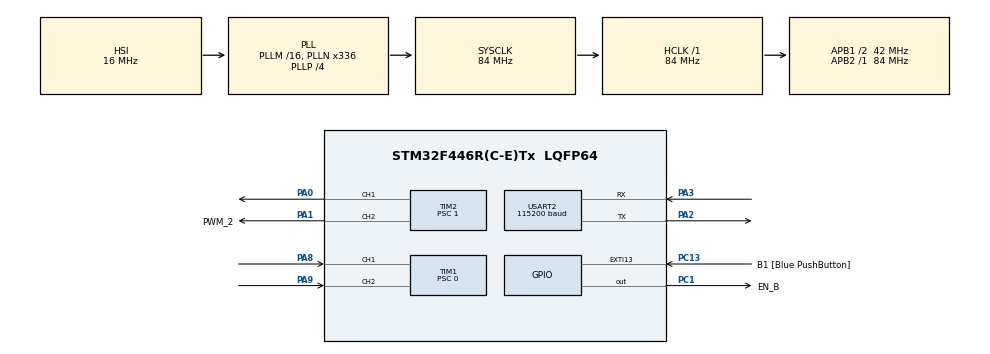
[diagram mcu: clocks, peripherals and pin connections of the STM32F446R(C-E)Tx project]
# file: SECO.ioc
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Mcu.Family=STM32F4
Mcu.Name=STM32F446R(C-E)Tx
Mcu.Package=LQFP64
NVIC.PriorityGroup=NVIC_PRIORITYGROUP_0
NVIC.TIM3_IRQn=true\:0\:0\:false\:false\:true\:true\:true
PA0-WKUP.Signal=S_TIM2_CH1_ETR
PA1.GPIO_Label=PWM_2
PA1.Signal=S_TIM2_CH2
PA13.GPIO_Label=TMS
PA13.Mode=Serial_Wire
PA13.Signal=SYS_JTMS-SWDIO
PA14.GPIO_Label=TCK
PA14.Mode=Serial_Wire
PA14.Signal=SYS_JTCK-SWCLK
PA2.Mode=Asynchronous
PA2.Signal=USART2_TX
PA3.Mode=Asynchronous
PA3.Signal=USART2_RX
PA8.Signal=S_TIM1_CH1
PA9.Signal=S_TIM1_CH2
PC1.GPIO_Label=EN_B
PC1.Signal=GPIO_Output
PC13.GPIO_Label=B1 [Blue PushButton]
PC13.GPIO_ModeDefaultEXTI=GPIO_MODE_IT_FALLING
PC13.Signal=GPXTI13
PC14-OSC32_IN.Mode=LSE-External-Oscillator
PC14-OSC32_IN.Signal=RCC_OSC32_IN
PC15-OSC32_OUT.Mode=LSE-External-Oscillator
PC15-OSC32_OUT.Signal=RCC_OSC32_OUT
PH0-OSC_IN.Mode=HSE-External-Oscillator
PH0-OSC_IN.Signal=RCC_OSC_IN
PH1-OSC_OUT.Mode=HSE-External-Oscillator
PH1-OSC_OUT.Signal=RCC_OSC_OUT
ProjectManager.HeapSize=0x200
ProjectManager.StackSize=0x400
ProjectManager.TargetToolchain=STM32CubeIDE
RCC.48MHZClocksFreq_Value=84000000
RCC.AHBFreq_Value=84000000
RCC.APB1CLKDivider=RCC_HCLK_DIV2
RCC.APB1Freq_Value=42000000
RCC.APB1TimFreq_Value=84000000
RCC.APB2Freq_Value=84000000
RCC.APB2TimFreq_Value=84000000
RCC.CortexFreq_Value=84000000
RCC.FLatency-AdvancedSettings=FLASH_LATENCY_2
RCC.HCLKFreq_Value=84000000
RCC.HSE_VALUE=8000000
RCC.HSI_VALUE=16000000
RCC.PLLN=336
RCC.PLLP=RCC_PLLP_DIV4
RCC.SYSCLKFreq_VALUE=84000000
RCC.SYSCLKSource=RCC_SYSCLKSOURCE_PLLCLK
RCC.USBFreq_Value=168000000
RCC.VCOOutputFreq_Value=336000000
SH.S_TIM1_CH1.0=TIM1_CH1,Encoder_Interface
SH.S_TIM1_CH2.0=TIM1_CH2,Encoder_Interface
SH.S_TIM2_CH1_ETR.0=TIM2_CH1,PWM Generation1 CH1
SH.S_TIM2_CH2.0=TIM2_CH2,PWM Generation2 CH2
TIM1.EncoderMode=TIM_ENCODERMODE_TI12
TIM1.Period=4199
TIM1.Prescaler=0
TIM2.Channel-PWM\ Generation1\ CH1=TIM_CHANNEL_1
TIM2.Channel-PWM\ Generation2\ CH2=TIM_CHANNEL_2
TIM2.Period=2099
TIM2.Prescaler=1
TIM2.Pulse-PWM\ Generation1\ CH1=0
TIM3.Period=8299
TIM3.Prescaler=9
USART2.BaudRate=115200
USART2.VirtualMode=VM_ASYNC
VP_TIM3_VS_ClockSourceINT.Mode=Internal
board=NUCLEO-F446RE

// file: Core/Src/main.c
/* USER CODE BEGIN Header */
/**
 ******************************************************************************
 * @file           : main.c
 * @brief          : Main program body
 ******************************************************************************
 * @attention
 *
 * <h2><center>&copy; Copyright (c) 2020 STMicroelectronics.
 * All rights reserved.</center></h2>
 *
 * This software component is licensed by ST under BSD 3-Clause license,
 * the "License"; You may not use this file except in compliance with the
 * License. You may obtain a copy of the License at:
 *                        opensource.org/licenses/BSD-3-Clause
 *
 ******************************************************************************
 */
/* USER CODE END Header */

#include "main.h"
#include "tim.h"
#include "usart.h"
#include "gpio.h"

/* USER CODE BEGIN Includes */
#include <stdio.h>
#include <stdlib.h>

#include "stm32f4xx_hal_uart.h"

/* USER CODE END Includes */

/* USER CODE BEGIN PV */

uint8_t voltage[TOTAL_CURVES] = { 1, 2, 3, 4, 5, 6, 7, 8, 9, 10, 11 ,12 }; //ACTUALIZAR VALOR DE TOTAL_CURVES

/* USER CODE END PV */

void SystemClock_Config(void);

int main(void)
{

  /* MCU Configuration--------------------------------------------------------*/

  /* Reset of all peripherals, Initializes the Flash interface and the Systick. */
  HAL_Init();

  /* Configure the system clock */
  SystemClock_Config();

  /* Initialize all configured peripherals */
  MX_GPIO_Init();
  MX_USART2_UART_Init();
  MX_TIM2_Init();
  MX_TIM1_Init();
  MX_TIM3_Init();
  /* USER CODE BEGIN 2 */
	startSystem();
  /* USER CODE END 2 */

  /* Infinite loop */
  /* USER CODE BEGIN WHILE */
	while (1) {
//	  pos = htim1.Instance->CNT;
//	  isNewLap();

    /* USER CODE END WHILE */

	}
}

void SystemClock_Config(void)
{
  RCC_OscInitTypeDef RCC_OscInitStruct = {0};
  RCC_ClkInitTypeDef RCC_ClkInitStruct = {0};

  /** Configure the main internal regulator output voltage
  */
  __HAL_RCC_PWR_CLK_ENABLE();
  __HAL_PWR_VOLTAGESCALING_CONFIG(PWR_REGULATOR_VOLTAGE_SCALE3);
  /** Initializes the CPU, AHB and APB busses clocks
  */
  RCC_OscInitStruct.OscillatorType = RCC_OSCILLATORTYPE_HSI;
  RCC_OscInitStruct.HSIState = RCC_HSI_ON;
  RCC_OscInitStruct.HSICalibrationValue = RCC_HSICALIBRATION_DEFAULT;
  RCC_OscInitStruct.PLL.PLLState = RCC_PLL_ON;
  RCC_OscInitStruct.PLL.PLLSource = RCC_PLLSOURCE_HSI;
  RCC_OscInitStruct.PLL.PLLM = 16;
  RCC_OscInitStruct.PLL.PLLN = 336;
  RCC_OscInitStruct.PLL.PLLP = RCC_PLLP_DIV4;
  RCC_OscInitStruct.PLL.PLLQ = 2;
  RCC_OscInitStruct.PLL.PLLR = 2;
  if (HAL_RCC_OscConfig(&RCC_OscInitStruct) != HAL_OK)
  {
    Error_Handler();
  }
  /** Initializes the CPU, AHB and APB busses clocks
  */
  RCC_ClkInitStruct.ClockType = RCC_CLOCKTYPE_HCLK|RCC_CLOCKTYPE_SYSCLK
                              |RCC_CLOCKTYPE_PCLK1|RCC_CLOCKTYPE_PCLK2;
  RCC_ClkInitStruct.SYSCLKSource = RCC_SYSCLKSOURCE_PLLCLK;
  RCC_ClkInitStruct.AHBCLKDivider = RCC_SYSCLK_DIV1;
  RCC_ClkInitStruct.APB1CLKDivider = RCC_HCLK_DIV2;
  RCC_ClkInitStruct.APB2CLKDivider = RCC_HCLK_DIV1;

  if (HAL_RCC_ClockConfig(&RCC_ClkInitStruct, FLASH_LATENCY_2) != HAL_OK)
  {
    Error_Handler();
  }
}

/* USER CODE BEGIN 4 */
void startSystem(void) {
	start = 1;
	p_voltage = voltage;
	count = 0;
	curves = 0;
	lap = 0;
	experiment = 0;
	HAL_GPIO_WritePin(GPIOC, GPIO_PIN_1, GPIO_PIN_SET); //ACTIVA ENABLE
	HAL_TIM_PWM_Start(&htim2, TIM_CHANNEL_1);
	HAL_TIM_PWM_Start(&htim2, TIM_CHANNEL_2);
	HAL_TIM_Base_Start_IT(&htim3);
	HAL_TIM_Encoder_Start(&htim1, TIM_CHANNEL_ALL);
}

void setVoltage(uint8_t voltage) {
//	VOLTAGE = MAX_VOLTAGE*(PERIOD/MAX_PERIOD) FORMULA

	uint32_t period;
	//PERIOD VALUES BETWEEN 0 AND 2099
	period = (uint32_t) (MAX_PERIOD * voltage) / MAX_VOLTAGE;
	if (voltage != 0) {
		period = period - 1;

		uint8_t text1[9] = "Voltage: ";
		uint8_t text2[2];
		sprintf(text2, "%02d", (int) *p_voltage);
		uint8_t text3[3] = " V\n";
		HAL_UART_Transmit(&huart2, text1, 9, HAL_MAX_DELAY);
		HAL_UART_Transmit(&huart2, text2, 2, HAL_MAX_DELAY);
		HAL_UART_Transmit(&huart2, text3, 3, HAL_MAX_DELAY);

		uint8_t text[12] = "Experiment: ";
		sprintf(text2, "%02d", (int) (experiment + 1));
		uint8_t tx_3[1] = "\n";
		HAL_UART_Transmit(&huart2, text, 12, HAL_MAX_DELAY);
		HAL_UART_Transmit(&huart2, text2, 2, HAL_MAX_DELAY);
		HAL_UART_Transmit(&huart2, tx_3, 1, HAL_MAX_DELAY);
		experiment++;
	}
	__HAL_TIM_SET_COMPARE(&htim2, TIM_CHANNEL_1, period);
	__HAL_TIM_SET_COMPARE(&htim2, TIM_CHANNEL_2, 0);
}

void HAL_TIM_PeriodElapsedCallback(TIM_HandleTypeDef *htim) {
	if (htim == &htim3) { //SALTA CADA MILISEGUNDO
		if (start == 1) {
			start = 0;
			setVoltage(*p_voltage);
			curves++;
		}
		if (count == MAX_COUNT) {
			count = 0;
			last_pos = 0;
			pos = 0;
			htim1.Instance->CNT = 0;
			lap = 0;

			if (experiment == EXAMPLE) {
				if (curves < TOTAL_CURVES) {
					experiment = 0;
					p_voltage++;
					curves++;
				} else {
					HAL_TIM_Base_Stop_IT(&htim3);
					uint8_t text[20] = "Programa finalizado\n";
					HAL_UART_Transmit(&huart2, text, 20, HAL_MAX_DELAY);
					return;
				}
			}
			setVoltage(*p_voltage);
		}

		if (count == STOP_COUNT) {
			setVoltage(0);
		}
		readEncoder();
		count++;
	}
}

void readEncoder(void) {
	pos = htim1.Instance->CNT;
	isNewLap();
	uint8_t aux[11];
	pos = pos + ENCODER_TOTAL_POS * lap;
	sprintf(aux, "%10d", (int) pos);
	aux[10] = '\n';
	HAL_UART_Transmit(&huart2, aux, 11, HAL_MAX_DELAY);
}

void isNewLap(void) {
	if (pos + ENCODER_THRESHOLE < last_pos)
		lap++;
	last_pos = pos;
}

/* USER CODE END 4 */

void Error_Handler(void)
{
}

/************************ (C) COPYRIGHT STMicroelectronics *****END OF FILE****/
